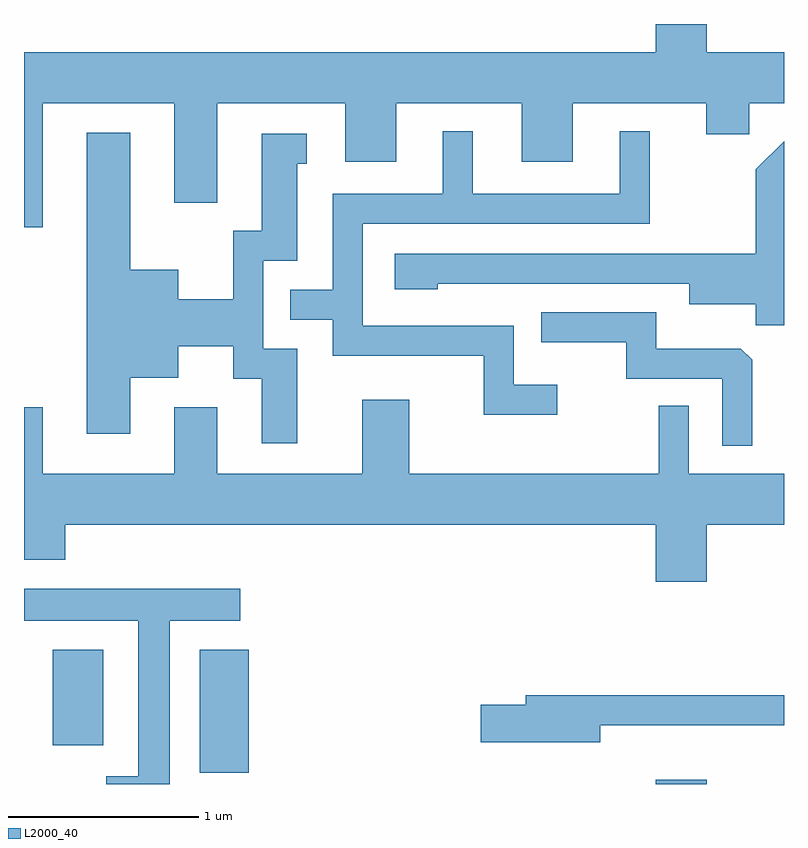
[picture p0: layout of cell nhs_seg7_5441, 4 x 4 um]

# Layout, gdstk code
import gdstk
lib = gdstk.Library(unit=1e-6, precision=1e-09)
def R(c, l, rs):  # rectangles x0, y0, x1, y1
    for r in rs: c.add(gdstk.rectangle(r[:2], r[2:], *l))
def P(c, l, *ps):  # polygons
    for p in ps: c.add(gdstk.Polygon(p, *l))
L2000_40 = (2000, 40)

nhs_seg7_5441 = lib.new_cell('nhs_seg7_5441')
R(nhs_seg7_5441, L2000_40, [(354.936,1746.252,355.204,1746.274), (352.536,1746.311,352.794,1746.959), (351.761,1746.456,352.029,1746.959)])
P(nhs_seg7_5441, L2000_40, [(351.709,1749.836),(352.401,1749.836),(352.401,1749.311),(352.629,1749.311),(352.629,1749.836),(353.301,1749.836),(353.301,1749.526),(353.569,1749.526),(353.569,1749.836),(354.231,1749.836),(354.231,1749.526),(354.499,1749.526),(354.499,1749.836),(355.201,1749.836),(355.201,1749.671),(355.429,1749.671),(355.429,1749.836),(355.611,1749.836),(355.611,1750.104),(355.204,1750.104),(355.204,1750.252),(354.936,1750.252),(354.936,1750.104),(351.611,1750.104),(351.611,1749.181),(351.709,1749.181)],
  [(354.418,1748.354),(354.189,1748.354),(354.189,1748.664),(353.394,1748.664),(353.394,1749.201),(354.904,1749.201),(354.904,1749.688),(354.746,1749.688),(354.746,1749.359),(353.974,1749.359),(353.974,1749.688),(353.816,1749.688),(353.816,1749.359),(353.236,1749.359),(353.236,1748.854),(353.013,1748.854),(353.013,1748.696),(353.236,1748.696),(353.236,1748.506),(354.031,1748.506),(354.031,1748.196),(354.418,1748.196)],
  [(353.049,1748.544),(352.869,1748.544),(352.869,1749.006),(353.049,1749.006),(353.049,1749.516),(353.098,1749.516),(353.098,1749.674),(352.861,1749.674),(352.861,1749.164),(352.711,1749.164),(352.711,1748.804),(352.424,1748.804),(352.424,1748.959),(352.169,1748.959),(352.169,1749.679),(351.941,1749.679),(351.941,1748.096),(352.169,1748.096),(352.169,1748.391),(352.424,1748.391),(352.424,1748.556),(352.711,1748.556),(352.711,1748.386),(352.861,1748.386),(352.861,1748.046),(353.049,1748.046)],
  [(355.611,1749.636),(355.461,1749.487),(355.461,1749.044),(353.561,1749.044),(353.561,1748.856),(353.789,1748.856),(353.789,1748.886),(355.111,1748.886),(355.111,1748.776),(355.461,1748.776),(355.461,1748.666),(355.611,1748.666)],
  [(355.444,1748.484),(355.384,1748.544),(354.939,1748.544),(354.939,1748.734),(354.333,1748.734),(354.333,1748.576),(354.781,1748.576),(354.781,1748.386),(355.286,1748.386),(355.286,1748.033),(355.444,1748.033)],
  [(355.204,1747.616),(355.611,1747.616),(355.611,1747.884),(355.109,1747.884),(355.109,1748.243),(354.951,1748.243),(354.951,1747.884),(353.639,1747.884),(353.639,1748.274),(353.391,1748.274),(353.391,1747.884),(352.629,1747.884),(352.629,1748.234),(352.401,1748.234),(352.401,1747.884),(351.709,1747.884),(351.709,1748.234),(351.611,1748.234),(351.611,1747.431),(351.829,1747.431),(351.829,1747.616),(354.936,1747.616),(354.936,1747.316),(355.204,1747.316)],
  [(352.379,1747.111),(352.748,1747.111),(352.748,1747.279),(351.611,1747.279),(351.611,1747.111),(352.211,1747.111),(352.211,1746.294),(352.043,1746.294),(352.043,1746.252),(352.379,1746.252)],
  [(354.644,1746.561),(355.611,1746.561),(355.611,1746.719),(354.251,1746.719),(354.251,1746.669),(354.016,1746.669),(354.016,1746.471),(354.644,1746.471)])

lib.write_gds('nhs_seg7_5441.gds')
